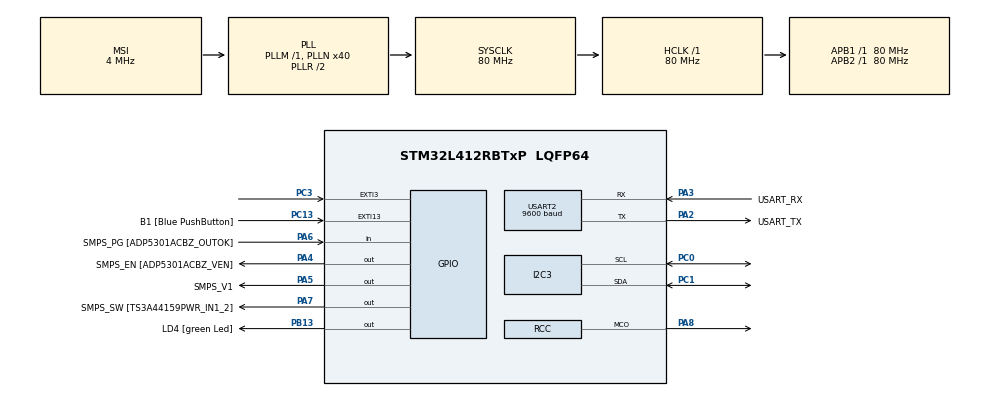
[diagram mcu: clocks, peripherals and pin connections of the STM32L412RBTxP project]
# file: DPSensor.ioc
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Dma.I2C3_TX.0.Direction=DMA_MEMORY_TO_PERIPH
Dma.I2C3_TX.0.Instance=DMA1_Channel2
Dma.I2C3_TX.0.MemDataAlignment=DMA_MDATAALIGN_BYTE
Dma.I2C3_TX.0.MemInc=DMA_MINC_ENABLE
Dma.I2C3_TX.0.Mode=DMA_NORMAL
Dma.I2C3_TX.0.PeriphDataAlignment=DMA_PDATAALIGN_BYTE
Dma.I2C3_TX.0.PeriphInc=DMA_PINC_DISABLE
Dma.I2C3_TX.0.Priority=DMA_PRIORITY_MEDIUM
Dma.Request0=I2C3_TX
I2C3.Timing=0x10909CEC
Mcu.Family=STM32L4
Mcu.Name=STM32L412RBTxP
Mcu.Package=LQFP64
NVIC.DMA1_Channel2_IRQn=true\:0\:0\:false\:false\:true\:false\:true\:true
NVIC.EXTI3_IRQn=true\:0\:0\:false\:false\:true\:true\:true\:true
NVIC.PriorityGroup=NVIC_PRIORITYGROUP_4
PA13\ (JTMS/SWDIO).GPIO_Label=TMS
PA13\ (JTMS/SWDIO).Mode=Serial_Wire
PA13\ (JTMS/SWDIO).Signal=SYS_JTMS-SWDIO
PA14\ (JTCK/SWCLK).GPIO_Label=TCK
PA14\ (JTCK/SWCLK).Mode=Serial_Wire
PA14\ (JTCK/SWCLK).Signal=SYS_JTCK-SWCLK
PA2.GPIO_Label=USART_TX
PA2.GPIO_PuPd=GPIO_NOPULL
PA2.GPIO_Speed=GPIO_SPEED_FREQ_VERY_HIGH
PA2.Mode=Asynchronous
PA2.Signal=USART2_TX
PA3.GPIO_Label=USART_RX
PA3.GPIO_PuPd=GPIO_NOPULL
PA3.GPIO_Speed=GPIO_SPEED_FREQ_VERY_HIGH
PA3.Mode=Asynchronous
PA3.Signal=USART2_RX
PA4.GPIO_Label=SMPS_EN [ADP5301ACBZ_VEN]
PA4.Signal=GPIO_Output
PA5.GPIO_Label=SMPS_V1
PA5.GPIO_ModeDefaultOutputPP=GPIO_MODE_OUTPUT_PP
PA5.GPIO_PuPd=GPIO_NOPULL
PA5.GPIO_Speed=GPIO_SPEED_FREQ_LOW
PA5.Signal=GPIO_Output
PA6.GPIO_Label=SMPS_PG [ADP5301ACBZ_OUTOK]
PA6.GPIO_PuPd=GPIO_PULLUP
PA6.Signal=GPIO_Input
PA7.GPIO_Label=SMPS_SW [TS3A44159PWR_IN1_2]
PA7.Signal=GPIO_Output
PA8.Mode=Clock-out
PA8.Signal=RCC_MCO
PB13.GPIO_Label=LD4 [green Led]
PB13.Signal=GPIO_Output
PC0.Mode=I2C
PC0.Signal=I2C3_SCL
PC1.Mode=I2C
PC1.Signal=I2C3_SDA
PC13.GPIO_Label=B1 [Blue PushButton]
PC13.GPIO_ModeDefaultEXTI=GPIO_MODE_IT_RISING
PC13.GPIO_PuPd=GPIO_NOPULL
PC13.Signal=GPXTI13
PC14-OSC32_IN\ (PC14).Signal=RCC_OSC32_IN
PC3.Signal=GPXTI3
PH0-OSC_IN\ (PH0).GPIO_Label=MCO
PH0-OSC_IN\ (PH0).Mode=HSE-External-Oscillator
PH0-OSC_IN\ (PH0).Signal=RCC_OSC_IN
PH1-OSC_OUT\ (PH1).Mode=HSE-External-Oscillator
PH1-OSC_OUT\ (PH1).Signal=RCC_OSC_OUT
ProjectManager.HeapSize=0x200
ProjectManager.StackSize=0x400
ProjectManager.TargetToolchain=STM32CubeIDE
RCC.ADCFreq_Value=80000000
RCC.AHBFreq_Value=80000000
RCC.APB1Freq_Value=80000000
RCC.APB1TimFreq_Value=80000000
RCC.APB2Freq_Value=80000000
RCC.APB2TimFreq_Value=80000000
RCC.CortexFreq_Value=80000000
RCC.FLatency=FLASH_LATENCY_4
RCC.HCLKFreq_Value=80000000
RCC.HSE_VALUE=8000000
RCC.HSI48_VALUE=48000000
RCC.HSICalibrationValue=16
RCC.HSI_VALUE=16000000
RCC.LSE_VALUE=32768
RCC.MSIAutoCalibration=DISABLED
RCC.MSI_VALUE=4000000
RCC.PLLN=40
RCC.PREFETCH_ENABLE=1
RCC.SYSCLKFreq_VALUE=80000000
RCC.SYSCLKSource=RCC_SYSCLKSOURCE_PLLCLK
RCC.USBFreq_Value=4000000
RCC.VCOOutputFreq_Value=160000000
USART2.BaudRate=9600
USART2.VirtualMode-Asynchronous=VM_ASYNC
board=NUCLEO-L412RB-P

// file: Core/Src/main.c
/* USER CODE BEGIN Header */
/**
  ******************************************************************************
  * @file           : main.c
  * @brief          : Main program body
  ******************************************************************************
  * @attention
  *
  * Copyright (c) 2023 STMicroelectronics.
  * All rights reserved.
  *
  * This software is licensed under terms that can be found in the LICENSE file
  * in the root directory of this software component.
  * If no LICENSE file comes with this software, it is provided AS-IS.
  *
  ******************************************************************************
  */
/* USER CODE END Header */
#include "main.h"

/* USER CODE BEGIN Includes */
#include <math.h>
#include <string.h>
#include <stdio.h>
/* USER CODE END Includes */

I2C_HandleTypeDef hi2c3;
DMA_HandleTypeDef hdma_i2c3_tx;

UART_HandleTypeDef huart2;

/* USER CODE BEGIN PV */
static const uint8_t DP_ADDR = 0x28<<1;
uint8_t* buf;
/* USER CODE END PV */

void SystemClock_Config(void);
static void MX_GPIO_Init(void);
static void MX_DMA_Init(void);
static void MX_USART2_UART_Init(void);
static void MX_I2C3_Init(void);
/* USER CODE BEGIN PFP */
#ifdef __GNUC__
#define PUTCHAR_PROTOTYPE int __io_putchar(int ch)
#else
#define PUTCHAR_PROTOTYPE int fputc(int ch, FILE *f)
#endif

PUTCHAR_PROTOTYPE
{
  HAL_UART_Transmit(&huart2, (uint8_t *)&ch, 1, HAL_MAX_DELAY);
  return ch;
}
void DPMeasurement(void);
/* USER CODE END PFP */

int main(void)
{

  /* MCU Configuration--------------------------------------------------------*/

  /* Reset of all peripherals, Initializes the Flash interface and the Systick. */
  HAL_Init();

  /* Configure the system clock */
  SystemClock_Config();

  /* Initialize all configured peripherals */
  MX_GPIO_Init();
  MX_DMA_Init();
  MX_USART2_UART_Init();
  MX_I2C3_Init();

  /* Infinite loop */
  /* USER CODE BEGIN WHILE */
  while (1)
  {
	DPMeasurement();
    /* USER CODE END WHILE */

  }
}

void SystemClock_Config(void)
{
  RCC_OscInitTypeDef RCC_OscInitStruct = {0};
  RCC_ClkInitTypeDef RCC_ClkInitStruct = {0};

  /** Configure the main internal regulator output voltage
  */
  if (HAL_PWREx_ControlVoltageScaling(PWR_REGULATOR_VOLTAGE_SCALE1) != HAL_OK)
  {
    Error_Handler();
  }

  /** Initializes the RCC Oscillators according to the specified parameters
  * in the RCC_OscInitTypeDef structure.
  */
  RCC_OscInitStruct.OscillatorType = RCC_OSCILLATORTYPE_MSI;
  RCC_OscInitStruct.MSIState = RCC_MSI_ON;
  RCC_OscInitStruct.MSICalibrationValue = 0;
  RCC_OscInitStruct.MSIClockRange = RCC_MSIRANGE_6;
  RCC_OscInitStruct.PLL.PLLState = RCC_PLL_ON;
  RCC_OscInitStruct.PLL.PLLSource = RCC_PLLSOURCE_MSI;
  RCC_OscInitStruct.PLL.PLLM = 1;
  RCC_OscInitStruct.PLL.PLLN = 40;
  RCC_OscInitStruct.PLL.PLLQ = RCC_PLLQ_DIV2;
  RCC_OscInitStruct.PLL.PLLR = RCC_PLLR_DIV2;
  if (HAL_RCC_OscConfig(&RCC_OscInitStruct) != HAL_OK)
  {
    Error_Handler();
  }

  /** Initializes the CPU, AHB and APB buses clocks
  */
  RCC_ClkInitStruct.ClockType = RCC_CLOCKTYPE_HCLK|RCC_CLOCKTYPE_SYSCLK
                              |RCC_CLOCKTYPE_PCLK1|RCC_CLOCKTYPE_PCLK2;
  RCC_ClkInitStruct.SYSCLKSource = RCC_SYSCLKSOURCE_PLLCLK;
  RCC_ClkInitStruct.AHBCLKDivider = RCC_SYSCLK_DIV1;
  RCC_ClkInitStruct.APB1CLKDivider = RCC_HCLK_DIV1;
  RCC_ClkInitStruct.APB2CLKDivider = RCC_HCLK_DIV1;

  if (HAL_RCC_ClockConfig(&RCC_ClkInitStruct, FLASH_LATENCY_4) != HAL_OK)
  {
    Error_Handler();
  }
  HAL_RCC_MCOConfig(RCC_MCO1, RCC_MCO1SOURCE_SYSCLK, RCC_MCODIV_1);
}

static void MX_I2C3_Init(void)
{

  hi2c3.Instance = I2C3;
  hi2c3.Init.Timing = 0x10909CEC;
  hi2c3.Init.OwnAddress1 = 0;
  hi2c3.Init.AddressingMode = I2C_ADDRESSINGMODE_7BIT;
  hi2c3.Init.DualAddressMode = I2C_DUALADDRESS_DISABLE;
  hi2c3.Init.OwnAddress2 = 0;
  hi2c3.Init.OwnAddress2Masks = I2C_OA2_NOMASK;
  hi2c3.Init.GeneralCallMode = I2C_GENERALCALL_DISABLE;
  hi2c3.Init.NoStretchMode = I2C_NOSTRETCH_DISABLE;
  if (HAL_I2C_Init(&hi2c3) != HAL_OK)
  {
    Error_Handler();
  }

  /** Configure Analogue filter
  */
  if (HAL_I2CEx_ConfigAnalogFilter(&hi2c3, I2C_ANALOGFILTER_ENABLE) != HAL_OK)
  {
    Error_Handler();
  }

  /** Configure Digital filter
  */
  if (HAL_I2CEx_ConfigDigitalFilter(&hi2c3, 0) != HAL_OK)
  {
    Error_Handler();
  }

}

static void MX_USART2_UART_Init(void)
{

  huart2.Instance = USART2;
  huart2.Init.BaudRate = 9600;
  huart2.Init.WordLength = UART_WORDLENGTH_8B;
  huart2.Init.StopBits = UART_STOPBITS_1;
  huart2.Init.Parity = UART_PARITY_NONE;
  huart2.Init.Mode = UART_MODE_TX_RX;
  huart2.Init.HwFlowCtl = UART_HWCONTROL_NONE;
  huart2.Init.OverSampling = UART_OVERSAMPLING_16;
  huart2.Init.OneBitSampling = UART_ONE_BIT_SAMPLE_DISABLE;
  huart2.AdvancedInit.AdvFeatureInit = UART_ADVFEATURE_NO_INIT;
  if (HAL_UART_Init(&huart2) != HAL_OK)
  {
    Error_Handler();
  }

}

static void MX_DMA_Init(void)
{

  /* DMA controller clock enable */
  __HAL_RCC_DMA1_CLK_ENABLE();

  /* DMA interrupt init */
  /* DMA1_Channel2_IRQn interrupt configuration */
  HAL_NVIC_SetPriority(DMA1_Channel2_IRQn, 0, 0);
  HAL_NVIC_EnableIRQ(DMA1_Channel2_IRQn);

}

static void MX_GPIO_Init(void)
{
  GPIO_InitTypeDef GPIO_InitStruct = {0};

  /* GPIO Ports Clock Enable */
  __HAL_RCC_GPIOC_CLK_ENABLE();
  __HAL_RCC_GPIOH_CLK_ENABLE();
  __HAL_RCC_GPIOA_CLK_ENABLE();
  __HAL_RCC_GPIOB_CLK_ENABLE();

  /*Configure GPIO pin Output Level */
  HAL_GPIO_WritePin(GPIOA, SMPS_EN_Pin|SMPS_V1_Pin|SMPS_SW_Pin, GPIO_PIN_RESET);

  /*Configure GPIO pin Output Level */
  HAL_GPIO_WritePin(LD4_GPIO_Port, LD4_Pin, GPIO_PIN_RESET);

  /*Configure GPIO pins : B1_Pin PC3 */
  GPIO_InitStruct.Pin = B1_Pin|GPIO_PIN_3;
  GPIO_InitStruct.Mode = GPIO_MODE_IT_RISING;
  GPIO_InitStruct.Pull = GPIO_NOPULL;
  HAL_GPIO_Init(GPIOC, &GPIO_InitStruct);

  /*Configure GPIO pins : SMPS_EN_Pin SMPS_V1_Pin SMPS_SW_Pin */
  GPIO_InitStruct.Pin = SMPS_EN_Pin|SMPS_V1_Pin|SMPS_SW_Pin;
  GPIO_InitStruct.Mode = GPIO_MODE_OUTPUT_PP;
  GPIO_InitStruct.Pull = GPIO_NOPULL;
  GPIO_InitStruct.Speed = GPIO_SPEED_FREQ_LOW;
  HAL_GPIO_Init(GPIOA, &GPIO_InitStruct);

  /*Configure GPIO pin : SMPS_PG_Pin */
  GPIO_InitStruct.Pin = SMPS_PG_Pin;
  GPIO_InitStruct.Mode = GPIO_MODE_INPUT;
  GPIO_InitStruct.Pull = GPIO_PULLUP;
  HAL_GPIO_Init(SMPS_PG_GPIO_Port, &GPIO_InitStruct);

  /*Configure GPIO pin : LD4_Pin */
  GPIO_InitStruct.Pin = LD4_Pin;
  GPIO_InitStruct.Mode = GPIO_MODE_OUTPUT_PP;
  GPIO_InitStruct.Pull = GPIO_NOPULL;
  GPIO_InitStruct.Speed = GPIO_SPEED_FREQ_LOW;
  HAL_GPIO_Init(LD4_GPIO_Port, &GPIO_InitStruct);

  /*Configure GPIO pin : PA8 */
  GPIO_InitStruct.Pin = GPIO_PIN_8;
  GPIO_InitStruct.Mode = GPIO_MODE_AF_PP;
  GPIO_InitStruct.Pull = GPIO_NOPULL;
  GPIO_InitStruct.Speed = GPIO_SPEED_FREQ_LOW;
  GPIO_InitStruct.Alternate = GPIO_AF0_MCO;
  HAL_GPIO_Init(GPIOA, &GPIO_InitStruct);

  /* EXTI interrupt init*/
  HAL_NVIC_SetPriority(EXTI3_IRQn, 0, 0);
  HAL_NVIC_EnableIRQ(EXTI3_IRQn);

}

/* USER CODE BEGIN 4 */
/*value is equal to 80%*16383/(Pmax-Pmin) * (Pressure_Applied - P_min) + 10% * 16383
		 *minimum value is 0x0666 and max value is 0x399A
		 * as 0.1 * 16383 = 1638.3 = 0x0666
		 * and (0.8 * 16383)/(Pmax-Pmin) * (Pmax-Pmin) + 0.1 * 16383 =  0.9 * 16383 = 14745 = 0x3999 //off by 1 but thats fine
		 * value = (0.8*16383)/(Pmax-Pmin)*(Papplied-Pmin) + 0.1*16383 -> P_min + (value - 1638)(Pmax-Pmin)/13106 = P_applied
		 * For us P_min = -20 & P_max = +20
		 */

/*
 *
 *
 *
 *
 */
void DPMeasurement(void){
	HAL_StatusTypeDef ret;
	for(int i = 0; i < 4; i++){
		buf[i] = 0;
	}
	ret = HAL_I2C_Master_Receive_DMA(&hi2c3, DP_ADDR, buf, 4, HAL_MAX_DELAY);
	int16_t val = (((int16_t)(buf[0]) << 8) & 0x3F00) | buf[1]; //getting value from sensor
	int16_t temp = (((int16_t)(buf[2]) << 3) & 0x7F8) | buf[3]>>5;
	if(ret != HAL_OK){
		perror( "how did i get here");
	}
	val = val - 0x2000;
	val = abs(val);
	float diffP = (float)(val * 20)/6554;
	float vel = (diffP * 2)/1.225;
	vel = sqrt(vel);
	printf("%f \r\n", vel);
	printf("%i \r\n", temp);
}

void HAL_GPIO_EXTI_Callback(uint16_t GPIO_Pin){
  if(GPIO_Pin == GPIO_PIN_3){
	  DPMeasurement();
  }
}
/* USER CODE END 4 */

void Error_Handler(void)
{
  __disable_irq();
  while (1)
  {
  }
}
